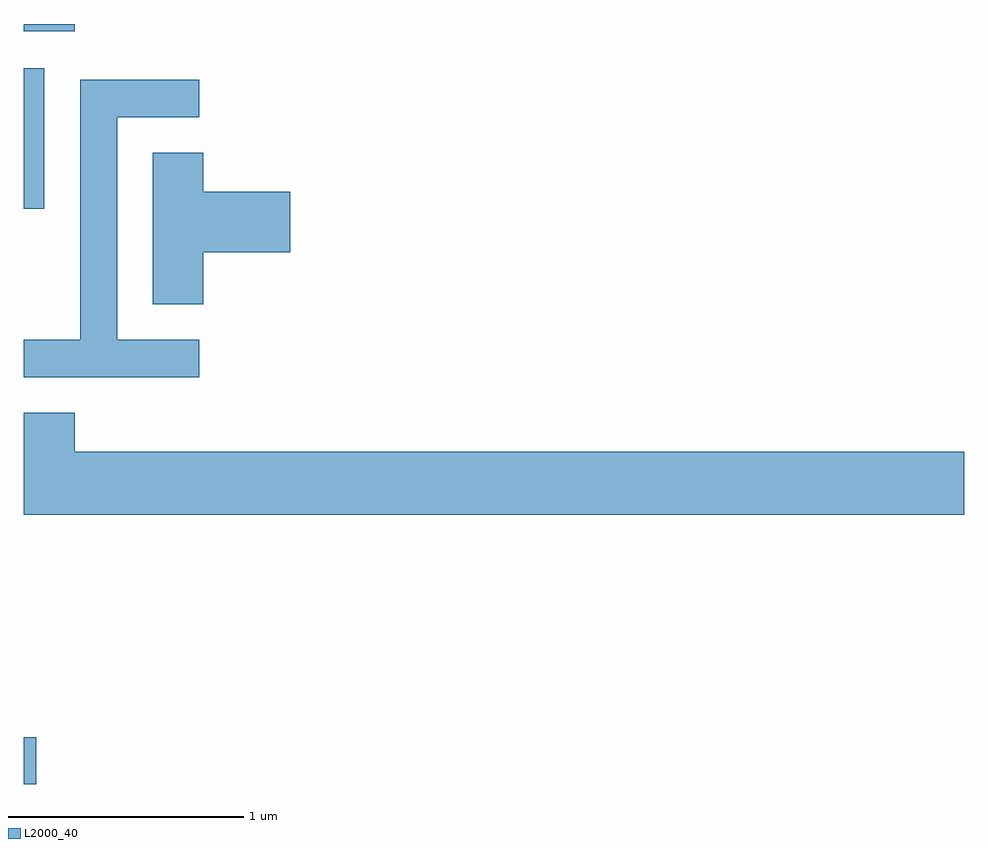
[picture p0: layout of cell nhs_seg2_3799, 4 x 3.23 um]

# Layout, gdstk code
import gdstk
lib = gdstk.Library(unit=1e-6, precision=1e-09)
def R(c, l, rs):  # rectangles x0, y0, x1, y1
    for r in rs: c.add(gdstk.rectangle(r[:2], r[2:], *l))
def P(c, l, *ps):  # polygons
    for p in ps: c.add(gdstk.Polygon(p, *l))
L2000_40 = (2000, 40)

nhs_seg2_3799 = lib.new_cell('nhs_seg2_3799')
R(nhs_seg2_3799, L2000_40, [(297.611,980.571,297.664,980.769), (297.611,983.016,297.699,983.614), (297.611,983.771,297.829,983.802)])
P(nhs_seg2_3799, L2000_40, [(298.358,982.459),(298.009,982.459),(298.009,983.406),(298.358,983.406),(298.358,983.564),(297.851,983.564),(297.851,982.459),(297.611,982.459),(297.611,982.301),(298.358,982.301)],
  [(298.374,982.831),(298.744,982.831),(298.744,983.089),(298.374,983.089),(298.374,983.254),(298.161,983.254),(298.161,982.611),(298.374,982.611)],
  [(301.611,981.984),(297.829,981.984),(297.829,982.149),(297.611,982.149),(297.611,981.716),(301.611,981.716)])

lib.write_gds('nhs_seg2_3799.gds')
